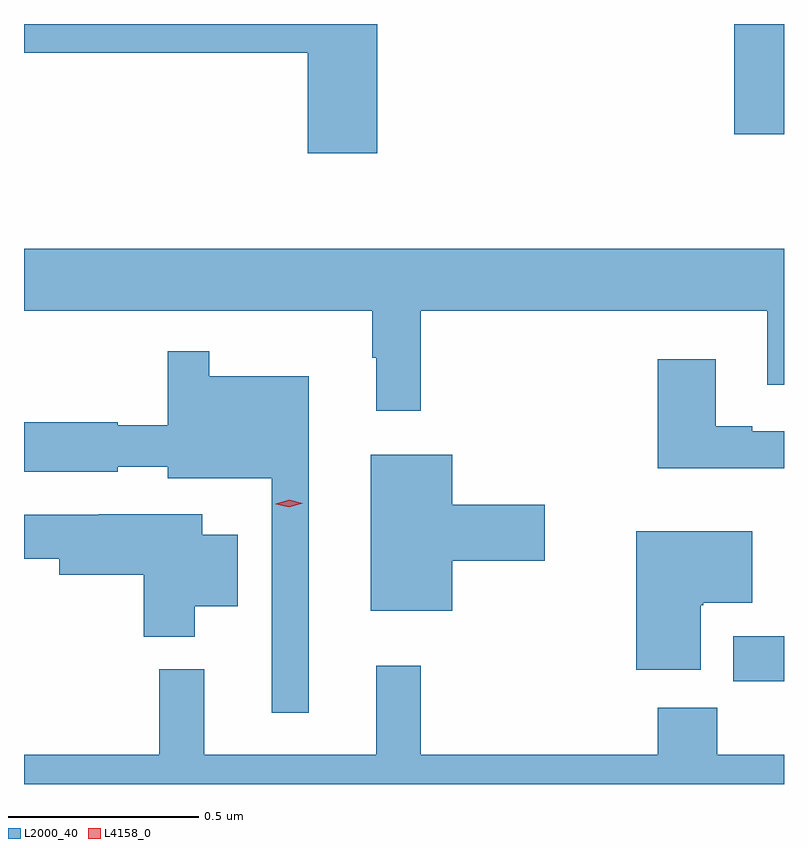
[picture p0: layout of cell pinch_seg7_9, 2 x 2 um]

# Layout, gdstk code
import gdstk
lib = gdstk.Library(unit=1e-6, precision=1e-09)
def R(c, l, rs):  # rectangles x0, y0, x1, y1
    for r in rs: c.add(gdstk.rectangle(r[:2], r[2:], *l))
def P(c, l, *ps):  # polygons
    for p in ps: c.add(gdstk.Polygon(p, *l))
L2000_40 = (2000, 40)
L4158_0 = (4158, 0)

pinch_seg7_9 = lib.new_cell('pinch_seg7_9')
R(pinch_seg7_9, L2000_40, [(1036.691,1048.926,1036.825,1049.044), (1036.694,1050.365,1036.825,1050.655)])
P(pinch_seg7_9, L2000_40, [(1035.755,1050.655),(1034.825,1050.655),(1034.825,1050.58),(1035.572,1050.58),(1035.572,1050.315),(1035.755,1050.315)],
  [(1035.869,1049.9),(1036.781,1049.9),(1036.781,1049.706),(1036.825,1049.706),(1036.825,1050.064),(1034.825,1050.064),(1034.825,1049.9),(1035.741,1049.9),(1035.741,1049.777),(1035.752,1049.777),(1035.752,1049.637),(1035.869,1049.637)],
  [(1035.574,1049.728),(1035.313,1049.728),(1035.313,1049.794),(1035.203,1049.794),(1035.203,1049.599),(1035.072,1049.599),(1035.072,1049.607),(1034.825,1049.607),(1034.825,1049.477),(1035.072,1049.477),(1035.072,1049.49),(1035.203,1049.49),(1035.203,1049.459),(1035.477,1049.459),(1035.477,1048.842),(1035.574,1048.842)],
  [(1036.825,1049.583),(1036.741,1049.583),(1036.741,1049.596),(1036.645,1049.596),(1036.645,1049.773),(1036.493,1049.773),(1036.493,1049.486),(1036.825,1049.486)],
  [(1035.952,1049.243),(1036.195,1049.243),(1036.195,1049.39),(1035.952,1049.39),(1035.952,1049.521),(1035.737,1049.521),(1035.737,1049.111),(1035.952,1049.111)],
  [(1035.274,1049.123),(1035.388,1049.123),(1035.388,1049.311),(1035.294,1049.311),(1035.294,1049.365),(1035.022,1049.365),(1035.022,1049.364),(1034.825,1049.364),(1034.825,1049.248),(1034.918,1049.248),(1034.918,1049.206),(1035.14,1049.206),(1035.14,1049.042),(1035.274,1049.042)],
  [(1036.606,1049.126),(1036.612,1049.126),(1036.612,1049.132),(1036.741,1049.132),(1036.741,1049.32),(1036.436,1049.32),(1036.436,1048.956),(1036.606,1048.956)],
  [(1036.825,1048.732),(1036.649,1048.732),(1036.649,1048.856),(1036.493,1048.856),(1036.493,1048.732),(1035.869,1048.732),(1035.869,1048.966),(1035.752,1048.966),(1035.752,1048.732),(1035.299,1048.732),(1035.299,1048.957),(1035.181,1048.957),(1035.181,1048.732),(1034.825,1048.732),(1034.825,1048.655),(1036.825,1048.655)])
P(pinch_seg7_9, L4158_0, [(1035.523,1049.383),(1035.488,1049.391),(1035.488,1049.391),(1035.488,1049.392),(1035.523,1049.403),(1035.558,1049.394),(1035.559,1049.394),(1035.558,1049.394)])

lib.write_gds('pinch_seg7_9.gds')
